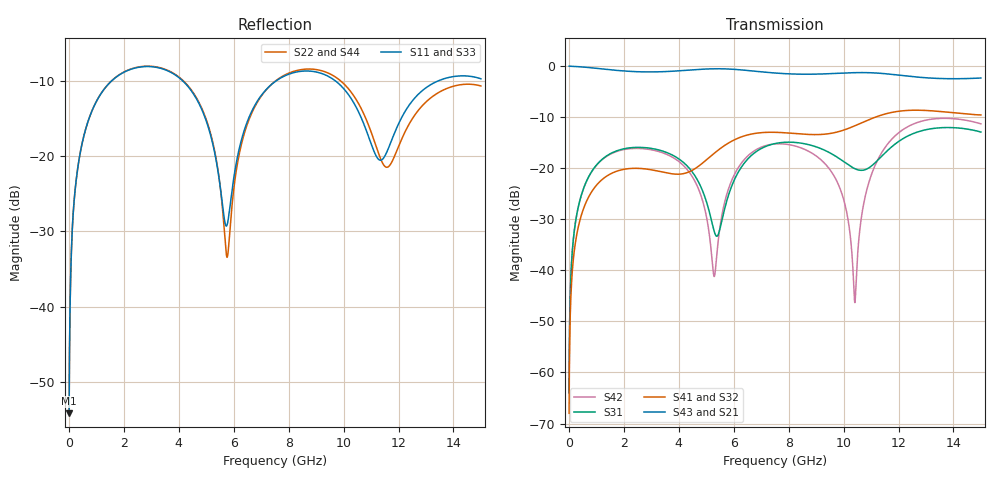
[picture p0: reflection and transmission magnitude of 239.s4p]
! Created with skrf 1.8.0 (http://scikit-rf.org).
# GHz S RI R 50.0
!freq ReS11 ImS11 ReS12 ImS12 ReS13 ImS13
! ReS14 ImS14
! ReS21 ImS21 ReS22 ImS22 ReS23 ImS23
! ReS24 ImS24
! ReS31 ImS31 ReS32 ImS32 ReS33 ImS33
! ReS34 ImS34
! ReS41 ImS41 ReS42 ImS42 ReS43 ImS43
! ReS44 ImS44
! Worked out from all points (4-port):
!   2499 points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, 5 MHz to 15 GHz, reference 50 ohm
!   strongest paths, dB at 5 MHz, 3.476 GHz, 7.19 GHz, 11.1 GHz, 15 GHz:
!     S43: 0.0, -1.1, -1.2, -1.3, -2.3
!     S21: 0.0, -1.1, -1.2, -1.3, -2.3
!     S41: -68.0, -20.8, -13.0, -10.1, -9.6
!     S32: -68.0, -20.9, -13.0, -10.1, -9.7
!     S31: -64.0, -16.8, -15.7, -19.2, -12.9
!     S42: -64.0, -17.1, -15.5, -20.1, -11.3
!   lowest |S11| = -54.1 dB at 5 MHz (marker M1), VSWR 1.00, Z = 50.2 + j0.119 ohm
!   |S11| at or under -10 dB: start of sweep to 1.569 GHz; 4.128 GHz to 7.561 GHz (3.433 GHz wide, 58.7 % of centre); 9.684 GHz to 13.48 GHz (3.794 GHz wide, 32.8 % of centre)
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0.005  0.00156 0.00119  0.9984 -0.00304  7.85e-05 0.000625  -7.62e-05 -0.000391
       0.9984 -0.00304  0.00156 0.00119  -7.62e-05 -0.000391  7.84e-05 0.000625
       7.85e-05 0.000625  -7.62e-05 -0.000391  0.00156 0.00119  0.9984 -0.00304
       -7.62e-05 -0.000391  7.84e-05 0.000625  0.9984 -0.00304  0.00156 0.00119
0.3126303  0.0221 0.0784  0.9698 -0.1896  0.0104 0.0373  -0.00846 -0.0231
           0.9698 -0.1896  0.0222 0.0784  -0.00846 -0.0231  0.00996 0.0374
           0.0104 0.0373  -0.00846 -0.0231  0.0221 0.0784  0.9698 -0.1896
           -0.00846 -0.0231  0.00996 0.0374  0.9698 -0.1896  0.0222 0.0784
1.519383  0.2481 0.186  0.5937 -0.7023  0.1236 0.0645  -0.0872 -0.0134
          0.5937 -0.7023  0.25 0.1848  -0.0872 -0.0135  0.1182 0.0709
          0.1236 0.0645  -0.0872 -0.0135  0.2482 0.1859  0.5937 -0.7023
          -0.0872 -0.0134  0.1182 0.0709  0.5937 -0.7023  0.25 0.1849
5.589829  0.0358 -0.0312  -0.9291 -0.1473  -0.0171 0.0277  -0.0212 0.1602
          -0.9291 -0.1473  0.0233 -0.0383  -0.0227 0.16  0.0111 0.0355
          -0.0171 0.0277  -0.0227 0.16  0.0348 -0.0326  -0.929 -0.1477
          -0.0212 0.1602  0.0111 0.0355  -0.929 -0.1477  0.0246 -0.0395
8.966236  0.3591 -0.04  0.0296 0.8332  0.1146 -0.1161  0.2035 -0.0643
          0.0296 0.8332  0.3721 -0.0437  0.204 -0.0615  0.1193 -0.0609
          0.1146 -0.1161  0.204 -0.0615  0.3586 -0.0381  0.0302 0.8336
          0.2035 -0.0643  0.1193 -0.0609  0.0302 0.8336  0.3704 -0.0463
10.41059  0.1738 -0.1323  0.6174 0.6023  -0.0703 -0.0696  0.1756 -0.1923
          0.6174 0.6023  0.1834 -0.1612  0.1783 -0.1898  -0.00446 -0.00185
          -0.0703 -0.0696  0.1783 -0.1898  0.1755 -0.1304  0.6182 0.6015
          0.1756 -0.1923  -0.00446 -0.00185  0.6182 0.6015  0.1806 -0.1636
15  0.304 -0.1143  -0.0167 -0.7634  0.2068 -0.0914  -0.3151 0.1057
    -0.0167 -0.7634  0.2787 -0.0835  -0.3147 0.0966  0.2204 -0.1592
    0.2068 -0.0914  -0.3147 0.0966  0.3026 -0.1201  -0.0197 -0.7642
    -0.3151 0.1057  0.2204 -0.1592  -0.0197 -0.7642  0.2729 -0.0789
